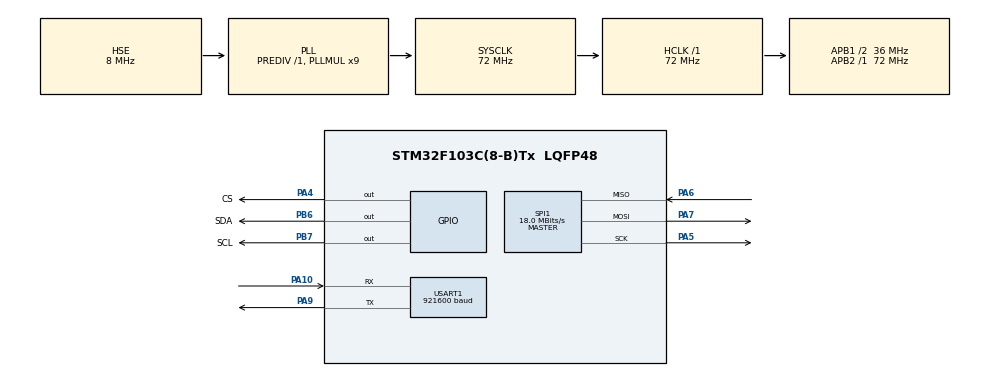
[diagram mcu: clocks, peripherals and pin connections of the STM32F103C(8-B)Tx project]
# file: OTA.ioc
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Dma.Request0=USART1_RX
Dma.USART1_RX.0.Direction=DMA_PERIPH_TO_MEMORY
Dma.USART1_RX.0.Instance=DMA1_Channel5
Dma.USART1_RX.0.MemDataAlignment=DMA_MDATAALIGN_BYTE
Dma.USART1_RX.0.MemInc=DMA_MINC_ENABLE
Dma.USART1_RX.0.Mode=DMA_NORMAL
Dma.USART1_RX.0.PeriphDataAlignment=DMA_PDATAALIGN_BYTE
Dma.USART1_RX.0.PeriphInc=DMA_PINC_DISABLE
Dma.USART1_RX.0.Priority=DMA_PRIORITY_HIGH
Mcu.Family=STM32F1
Mcu.Name=STM32F103C(8-B)Tx
Mcu.Package=LQFP48
NVIC.DMA1_Channel5_IRQn=true\:0\:0\:false\:false\:true\:false\:true\:true
NVIC.PriorityGroup=NVIC_PRIORITYGROUP_2
NVIC.USART1_IRQn=true\:0\:0\:false\:false\:true\:true\:true\:true
PA10.Mode=Asynchronous
PA10.Signal=USART1_RX
PA13.Mode=Serial_Wire
PA13.Signal=SYS_JTMS-SWDIO
PA14.Mode=Serial_Wire
PA14.Signal=SYS_JTCK-SWCLK
PA4.GPIO_Label=CS
PA4.PinState=GPIO_PIN_SET
PA4.Signal=GPIO_Output
PA5.Mode=Full_Duplex_Master
PA5.Signal=SPI1_SCK
PA6.Mode=Full_Duplex_Master
PA6.Signal=SPI1_MISO
PA7.Mode=Full_Duplex_Master
PA7.Signal=SPI1_MOSI
PA9.Mode=Asynchronous
PA9.Signal=USART1_TX
PB6.GPIO_Label=SDA
PB6.GPIO_ModeDefaultOutputPP=GPIO_MODE_OUTPUT_OD
PB6.GPIO_PuPd=GPIO_NOPULL
PB6.PinState=GPIO_PIN_SET
PB6.Signal=GPIO_Output
PB7.GPIO_Label=SCL
PB7.GPIO_ModeDefaultOutputPP=GPIO_MODE_OUTPUT_OD
PB7.GPIO_PuPd=GPIO_NOPULL
PB7.PinState=GPIO_PIN_SET
PB7.Signal=GPIO_Output
PD0-OSC_IN.Mode=HSE-External-Oscillator
PD0-OSC_IN.Signal=RCC_OSC_IN
PD1-OSC_OUT.Mode=HSE-External-Oscillator
PD1-OSC_OUT.Signal=RCC_OSC_OUT
ProjectManager.HeapSize=0x200
ProjectManager.StackSize=0x400
ProjectManager.TargetToolchain=CMake
RCC.AHBFreq_Value=72000000
RCC.APB1CLKDivider=RCC_HCLK_DIV2
RCC.APB1Freq_Value=36000000
RCC.APB1TimFreq_Value=72000000
RCC.APB2Freq_Value=72000000
RCC.APB2TimFreq_Value=72000000
RCC.HCLKFreq_Value=72000000
RCC.PLLMUL=RCC_PLL_MUL9
RCC.PLLSourceVirtual=RCC_PLLSOURCE_HSE
RCC.SYSCLKFreq_VALUE=72000000
RCC.SYSCLKSource=RCC_SYSCLKSOURCE_PLLCLK
RCC.USBFreq_Value=72000000
SPI1.BaudRatePrescaler=SPI_BAUDRATEPRESCALER_4
SPI1.CalculateBaudRate=18.0 MBits/s
SPI1.Direction=SPI_DIRECTION_2LINES
SPI1.Mode=SPI_MODE_MASTER
SPI1.VirtualType=VM_MASTER
TIM2.Prescaler=71
USART1.BaudRate=921600
USART1.VirtualMode=VM_ASYNC
VP_TIM2_VS_ClockSourceINT.Mode=Internal
board=custom

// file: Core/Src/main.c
/* USER CODE BEGIN Header */
/**
  ******************************************************************************
  * @file           : main.c
  * @brief          : Main program body
  ******************************************************************************
  * @attention
  *
  * Copyright (c) 2026 STMicroelectronics.
  * All rights reserved.
  *
  * This software is licensed under terms that can be found in the LICENSE file
  * in the root directory of this software component.
  * If no LICENSE file comes with this software, it is provided AS-IS.
  *
  ******************************************************************************
  */
/* USER CODE END Header */
#include "main.h"
#include "dma.h"
#include "spi.h"
#include "tim.h"
#include "usart.h"
#include "gpio.h"

/* USER CODE BEGIN Includes */
#include "delay_us.h"
#include "M24C02.h"
#include "boot.h"
#include "W25Q64.h"
#include "fmc.h"
/* USER CODE END Includes */

void SystemClock_Config(void);

/* USER CODE BEGIN 0 */
OTA_InfoCB OTA_Info;  // OTA信息结构体
UpDataA_CB UpDataA;
uint32_t BootStaFlag; // 状态容器（真正保存数据，缓存其他标志位的值来置不同的标志位）
/* USER CODE END 0 */

int main(void)
{

  /* MCU Configuration--------------------------------------------------------*/

  /* Reset of all peripherals, Initializes the Flash interface and the Systick. */
  HAL_Init();

  /* Configure the system clock */
  SystemClock_Config();

  /* Initialize all configured peripherals */
  MX_GPIO_Init();
  MX_DMA_Init();
  MX_USART1_UART_Init();
  MX_TIM2_Init();
  MX_SPI1_Init();
  /* USER CODE BEGIN 2 */
  HAL_TIM_Base_Start(&htim2);

  uint8_t i;
  M24C02_ReadOTAInfo();  // 读取OTA信息
  BootLoader_Brance();    // 根据OTA_FLAG判断是否更新OTA

  /* USER CODE END 2 */

  /* Infinite loop */
  /* USER CODE BEGIN WHILE */
  while (1)
  {
    /* --------------------------------------------------------------------------
     *                          环形缓冲区处理串口接收数据进行消费（分拣员处理货物）
     --------------------------------------------------------------------------*/
    if(U1CB.URxDataOUT != U1CB.URxDataIN)
    {
      BootLoader_Event(U1CB.URxDataOUT->start,U1CB.URxDataOUT->end - U1CB.URxDataOUT->start + 1); // 分拣员从分拣的起始位置，开始处理一个隔间的货物
      U1CB.URxDataOUT++;  // 这一整个包的数据发完了，分拣员进入到下一个隔间，等待收货员发货
      if(U1CB.URxDataOUT == U1CB.URxDataEND)    // 如果分拣员走到了最后一个隔间
      {
        U1CB.URxDataOUT = &U1CB.URxDataPtr[0];  // 分拣员回到第一个隔间
      }
    }

    /*--------------------------------------------------------------------------
     * A区固件升级任务：UPDATA_A_FLAG置位时，执行外部Flash(W25Q64)拷贝到片内Flash A区
     --------------------------------------------------------------------------*/
    if (BootStaFlag & UPDATA_A_FLAG)
    { // 更新A区
      u1_printf("长度%d字节\r\n", OTA_Info.Firelen[UpDataA.W25Q64_BlockNum]);

      if ((OTA_Info.Firelen[UpDataA.W25Q64_BlockNum] % 4) == 0) // 4个字节的写入，正好是32位单片机要求
      { // 擦除单片机片内Flash的A区，准备写入新APP
        STM32_EraseFlash(STM32_A_START_PAGE, STM32_A_PAGE_NUM);   // 从A区起始页，擦除整个A区
        // 循环：写完整1024个字节的整页
        for (i = 0; (uint32_t)i < OTA_Info.Firelen[UpDataA.W25Q64_BlockNum] / STM32_PAGE_SIZE; i ++)  // 整个大小整除1024
        { // 从W25Q64外部Flash读1024字节到缓冲区
          W25Q64_Read(UpDataA.UpDatabuff, i*1024 + UpDataA.W25Q64_BlockNum * 64 * 1024, STM32_PAGE_SIZE); // * 64 * 1024：一块区域是64k
          // 把缓冲区数据写入STM32片内A区Flash
          STM32_WriteFlash(STM32_A_SADDR + i * STM32_PAGE_SIZE, (uint32_t *)UpDataA.UpDatabuff, STM32_PAGE_SIZE);
        }
        if ((OTA_Info.Firelen[UpDataA.W25Q64_BlockNum] % 1024) != 0)
        {
          W25Q64_Read(UpDataA.UpDatabuff, i*1024 + UpDataA.W25Q64_BlockNum * 64 * 1024, OTA_Info.Firelen[UpDataA.W25Q64_BlockNum] % 1024);
          STM32_WriteFlash(STM32_A_SADDR + i * STM32_PAGE_SIZE, (uint32_t *)UpDataA.UpDatabuff, OTA_Info.Firelen[UpDataA.W25Q64_BlockNum] % 1024);
        }
        if (UpDataA.W25Q64_BlockNum == 0)
        {
          OTA_Info.OTA_flag = 0;
          M24C02_WriteOTAInfo(); // 把标记写入M24C02 EEPROM，以便BootLoader上电后读取，防止掉电丢失
        }
        u1_printf("A区升级完成，2s后系统重启\r\n");
        HAL_Delay(2000);
        // 升级完成，系统软复位，重启后Bootloader就会直接跳A区APP
        HAL_NVIC_SystemReset();
      }
      else
      {
        u1_printf("长度错误，本次升级失败\r\n");
        u1_printf("2s后显示BootLoader命令行\r\n");
        // 相当于把UPDATA_A_FLAG的二进制格式里为1的位取0:BootStaFlag = BootStaFlag & (取反~UPDATA_A_FLAG);由于BootStaFlag |= UPDATA_A_FLAG，所以这里是清零操作
        BootStaFlag &= ~UPDATA_A_FLAG;  //长度不对，清除内存里的升级标记，放弃本次升级
        HAL_Delay(2000);
        BootLoader_Info();
      }
    }

    /*--------------------------------------------------------------------------
     * [2]串口IAP下载A区程序
     * Xmodem传输握手：定时发送字符'C'，通知上位机准备发送固件
     * 注意：掩码宏里面，1 在哪一位，if 就检测哪一位。所以下面if仅判断IAP_XMODEM_C_FLAG为1位的那个bit，两个标志位是否都为1，也就是检测BootStaFlag的那位是否为1
     --------------------------------------------------------------------------*/
    if (BootStaFlag & IAP_XMODEM_C_FLAG)
    {
      if (UpDataA.XmodemTimer >= 100)
      {
        u1_printf("C");
        UpDataA.XmodemTimer = 0;
      }
      HAL_Delay(10);
      UpDataA.XmodemTimer ++; // 10ms * 100 = 1s
    }
    /* USER CODE END WHILE */

  }
}

void SystemClock_Config(void)
{
  RCC_OscInitTypeDef RCC_OscInitStruct = {0};
  RCC_ClkInitTypeDef RCC_ClkInitStruct = {0};

  /** Initializes the RCC Oscillators according to the specified parameters
  * in the RCC_OscInitTypeDef structure.
  */
  RCC_OscInitStruct.OscillatorType = RCC_OSCILLATORTYPE_HSE;
  RCC_OscInitStruct.HSEState = RCC_HSE_ON;
  RCC_OscInitStruct.HSEPredivValue = RCC_HSE_PREDIV_DIV1;
  RCC_OscInitStruct.HSIState = RCC_HSI_ON;
  RCC_OscInitStruct.PLL.PLLState = RCC_PLL_ON;
  RCC_OscInitStruct.PLL.PLLSource = RCC_PLLSOURCE_HSE;
  RCC_OscInitStruct.PLL.PLLMUL = RCC_PLL_MUL9;
  if (HAL_RCC_OscConfig(&RCC_OscInitStruct) != HAL_OK)
  {
    Error_Handler();
  }

  /** Initializes the CPU, AHB and APB buses clocks
  */
  RCC_ClkInitStruct.ClockType = RCC_CLOCKTYPE_HCLK|RCC_CLOCKTYPE_SYSCLK
                              |RCC_CLOCKTYPE_PCLK1|RCC_CLOCKTYPE_PCLK2;
  RCC_ClkInitStruct.SYSCLKSource = RCC_SYSCLKSOURCE_PLLCLK;
  RCC_ClkInitStruct.AHBCLKDivider = RCC_SYSCLK_DIV1;
  RCC_ClkInitStruct.APB1CLKDivider = RCC_HCLK_DIV2;
  RCC_ClkInitStruct.APB2CLKDivider = RCC_HCLK_DIV1;

  if (HAL_RCC_ClockConfig(&RCC_ClkInitStruct, FLASH_LATENCY_2) != HAL_OK)
  {
    Error_Handler();
  }
}

void Error_Handler(void)
{
  __disable_irq();
  while (1)
  {
  }
}
